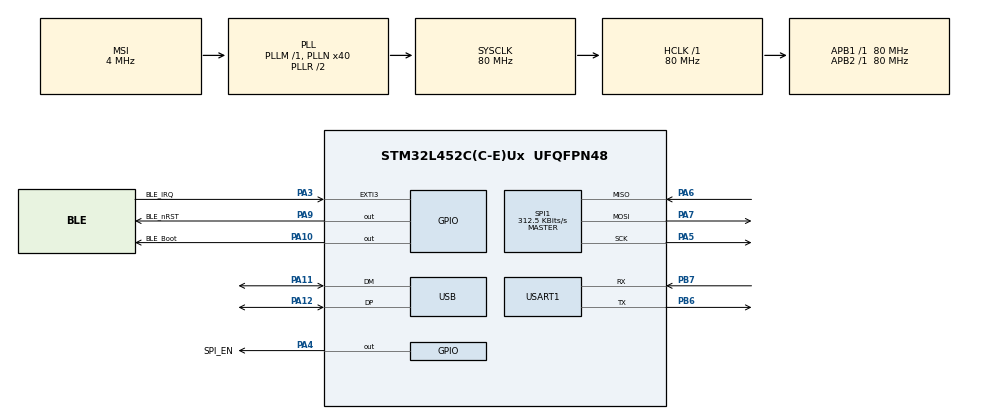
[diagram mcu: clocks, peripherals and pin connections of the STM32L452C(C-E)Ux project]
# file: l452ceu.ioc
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ARM.CMSIS.5.6.0.CMSISJjCORE=true
ARM.CMSIS.5.6.0.DeviceJjStartup=COoStartup
Dma.Request0=SPI1_TX
Dma.Request1=SPI1_RX
Dma.SPI1_RX.1.Direction=DMA_PERIPH_TO_MEMORY
Dma.SPI1_RX.1.Instance=DMA1_Channel2
Dma.SPI1_RX.1.MemDataAlignment=DMA_MDATAALIGN_BYTE
Dma.SPI1_RX.1.MemInc=DMA_MINC_ENABLE
Dma.SPI1_RX.1.Mode=DMA_NORMAL
Dma.SPI1_RX.1.PeriphDataAlignment=DMA_PDATAALIGN_BYTE
Dma.SPI1_RX.1.PeriphInc=DMA_PINC_DISABLE
Dma.SPI1_RX.1.Priority=DMA_PRIORITY_LOW
Dma.SPI1_TX.0.Direction=DMA_MEMORY_TO_PERIPH
Dma.SPI1_TX.0.Instance=DMA1_Channel3
Dma.SPI1_TX.0.MemDataAlignment=DMA_MDATAALIGN_BYTE
Dma.SPI1_TX.0.MemInc=DMA_MINC_ENABLE
Dma.SPI1_TX.0.Mode=DMA_NORMAL
Dma.SPI1_TX.0.PeriphDataAlignment=DMA_PDATAALIGN_BYTE
Dma.SPI1_TX.0.PeriphInc=DMA_PINC_DISABLE
Dma.SPI1_TX.0.Priority=DMA_PRIORITY_LOW
Mcu.Family=STM32L4
Mcu.Name=STM32L452C(C-E)Ux
Mcu.Package=UFQFPN48
NVIC.DMA1_Channel2_IRQn=true\:2\:0\:true\:false\:true\:false\:true
NVIC.DMA1_Channel3_IRQn=true\:2\:0\:true\:false\:true\:false\:true
NVIC.EXTI3_IRQn=true\:1\:0\:true\:false\:true\:true\:true
NVIC.PriorityGroup=NVIC_PRIORITYGROUP_4
NVIC.SPI1_IRQn=true\:0\:0\:false\:false\:true\:true\:true
NVIC.TIM6_DAC_IRQn=true\:0\:0\:true\:false\:true\:true\:true
NVIC.USART1_IRQn=true\:0\:0\:false\:false\:true\:true\:true
NVIC.USB_IRQn=true\:0\:0\:false\:false\:true\:false\:true
PA10.GPIO_Label=BLE_Boot
PA10.GPIO_ModeDefaultOutputPP=GPIO_MODE_OUTPUT_PP
PA10.GPIO_PuPd=GPIO_NOPULL
PA10.GPIO_Speed=GPIO_SPEED_FREQ_LOW
PA10.PinState=GPIO_PIN_RESET
PA10.Signal=GPIO_Output
PA11.Mode=Device
PA11.Signal=USB_DM
PA12.Mode=Device
PA12.Signal=USB_DP
PA13\ (JTMS/SWDIO).Mode=Serial_Wire
PA13\ (JTMS/SWDIO).Signal=SYS_JTMS-SWDIO
PA14\ (JTCK/SWCLK).Mode=Serial_Wire
PA14\ (JTCK/SWCLK).Signal=SYS_JTCK-SWCLK
PA3.GPIO_Label=BLE_IRQ
PA3.GPIO_ModeDefaultEXTI=GPIO_MODE_IT_RISING_FALLING
PA3.Signal=GPXTI3
PA4.GPIO_Label=SPI_EN
PA4.GPIO_ModeDefaultOutputPP=GPIO_MODE_OUTPUT_PP
PA4.GPIO_PuPd=GPIO_NOPULL
PA4.GPIO_Speed=GPIO_SPEED_FREQ_LOW
PA4.PinState=GPIO_PIN_RESET
PA4.Signal=GPIO_Output
PA5.Mode=Full_Duplex_Master
PA5.Signal=SPI1_SCK
PA6.Mode=Full_Duplex_Master
PA6.Signal=SPI1_MISO
PA7.Mode=Full_Duplex_Master
PA7.Signal=SPI1_MOSI
PA9.GPIO_Label=BLE_nRST
PA9.GPIO_ModeDefaultOutputPP=GPIO_MODE_OUTPUT_PP
PA9.GPIO_PuPd=GPIO_NOPULL
PA9.GPIO_Speed=GPIO_SPEED_FREQ_LOW
PA9.PinState=GPIO_PIN_RESET
PA9.Signal=GPIO_Output
PB6.Mode=Asynchronous
PB6.Signal=USART1_TX
PB7.Mode=Asynchronous
PB7.Signal=USART1_RX
ProjectManager.HeapSize=0x200
ProjectManager.StackSize=0x400
ProjectManager.TargetToolchain=MDK-ARM V5.27
RCC.ADCFreq_Value=48000000
RCC.AHBFreq_Value=80000000
RCC.APB1Freq_Value=80000000
RCC.APB1TimFreq_Value=80000000
RCC.APB2Freq_Value=80000000
RCC.APB2TimFreq_Value=80000000
RCC.CortexFreq_Value=80000000
RCC.HCLKFreq_Value=80000000
RCC.HSE_VALUE=48000000
RCC.HSI48_VALUE=48000000
RCC.HSI_VALUE=16000000
RCC.LSE_VALUE=32768
RCC.MSI_VALUE=4000000
RCC.PLLN=40
RCC.PLLSAI1N=24
RCC.SYSCLKFreq_VALUE=80000000
RCC.SYSCLKSource=RCC_SYSCLKSOURCE_PLLCLK
RCC.USBFreq_Value=48000000
RCC.VCOOutputFreq_Value=160000000
SPI1.BaudRatePrescaler=SPI_BAUDRATEPRESCALER_256
SPI1.CLKPhase=SPI_PHASE_2EDGE
SPI1.CLKPolarity=SPI_POLARITY_HIGH
SPI1.CalculateBaudRate=312.5 KBits/s
SPI1.DataSize=SPI_DATASIZE_8BIT
SPI1.Direction=SPI_DIRECTION_2LINES
SPI1.Mode=SPI_MODE_MASTER
SPI1.VirtualType=VM_MASTER
TIM6.Period=100
TIM6.Prescaler=80
USART1.VirtualMode-Asynchronous=VM_ASYNC
USB_DEVICE.CLASS_NAME_FS=CDC
USB_DEVICE.USBD_MAX_STR_DESC_SIZ=1024
USB_DEVICE.VirtualMode=Cdc
USB_DEVICE.VirtualModeFS=Cdc_FS
VP_ARM.CMSIS_VS_CMSISJjCORE_5.3.0.Mode=CMSISJjCORE
VP_TIM6_VS_ClockSourceINT.Mode=Enable_Timer
VP_USB_DEVICE_VS_USB_DEVICE_CDC_FS.Mode=CDC_FS
board=custom

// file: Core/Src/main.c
/* USER CODE BEGIN Header */
/**
  ******************************************************************************
  * @file           : main.c
  * @brief          : Main program body
  ******************************************************************************
  * @attention
  *
  * <h2><center>&copy; Copyright (c) 2020 STMicroelectronics.
  * All rights reserved.</center></h2>
  *
  * This software component is licensed by ST under Ultimate Liberty license
  * SLA0044, the "License"; You may not use this file except in compliance with
  * the License. You may obtain a copy of the License at:
  *                             www.st.com/SLA0044
  *
  ******************************************************************************
  */
/* USER CODE END Header */

#include "main.h"
#include "dma.h"
#include "spi.h"
#include "tim.h"
#include "usart.h"
#include "usb_device.h"
#include "gpio.h"

/* USER CODE BEGIN Includes */
#include "queue.h"
#include "usbd_cdc_if.h"
#include "sw_timers.h"
/* USER CODE END Includes */

/* USER CODE BEGIN PV */
Queue q_from_spirx;
Queue q_from_usbrx;

uint8_t test_buf[MAX_STRING_LENGTH] = {0};

volatile bool exchanged = true;
volatile bool usb_transmit = true;
volatile bool while_lock = false;

uint8_t spi_transmit_buff[MAX_STRING_LENGTH];
uint8_t spi_receive_buff[MAX_STRING_LENGTH];

uint8_t usb_transmit_buff[MAX_STRING_LENGTH];
uint8_t usb_receive_buff[MAX_STRING_LENGTH];

struct timer t_resolver;
/* USER CODE END PV */

void SystemClock_Config(void);

/* USER CODE BEGIN 0 */

void HAL_SPI_TxRxCpltCallback(SPI_HandleTypeDef *hspi)
{
	if(hspi->Instance == hspi1.Instance)
	{
		exchanged = true;
		queue_push(&q_from_spirx, spi_receive_buff, MAX_STRING_LENGTH);
		HAL_GPIO_WritePin(SPI_EN_GPIO_Port, SPI_EN_Pin, GPIO_PIN_SET);
	}
}
//

void HAL_TIM_PeriodElapsedCallback(TIM_HandleTypeDef *htim)
{
	if(htim->Instance == TIM6)
	{
		t_OnDigitCompleteInterrupt();
	}
}
//

void HAL_GPIO_EXTI_Callback(uint16_t GPIO_Pin)
{
	if(GPIO_Pin == BLE_IRQ_Pin)
	{
		if(HAL_GPIO_ReadPin(BLE_IRQ_GPIO_Port, BLE_IRQ_Pin) == GPIO_PIN_SET && exchanged && !while_lock)
		{
			memset(spi_transmit_buff, 0, sizeof(spi_transmit_buff[0])*MAX_STRING_LENGTH);
			memset(spi_receive_buff, 0, sizeof(spi_receive_buff[0])*MAX_STRING_LENGTH);
			queue_get_front(&q_from_usbrx, spi_transmit_buff, 0,  queue_get_frontl(&q_from_usbrx));
			queue_pop(&q_from_usbrx);
			HAL_GPIO_WritePin(SPI_EN_GPIO_Port, SPI_EN_Pin, GPIO_PIN_RESET);
			exchanged = false;
			if(HAL_SPI_TransmitReceive_DMA(&hspi1, spi_transmit_buff, spi_receive_buff, MAX_STRING_LENGTH) != HAL_OK)
				{
					Error_Handler();
				}
		}
	}
}
//

/**
	*	@brief	Функция приема сообщения с CDC
	*	@note		см. функцию @ref CDC_Receive_FS
	*	@param
	*	@retval
**/
//
void Connection_RecieveCallback(uint8_t* buffer, uint32_t Len)
{
	if(Len > 0)
		queue_push(&q_from_usbrx, buffer, Len);
}
//

/**
	*	@brief	Функция приема сообщения с CDC
	*	@note		см. функцию @ref CDC_Transmit_FS
	*	@param
	*	@retval
**/
//
void Connection_TransmitCallback(void)
{
	//usb_transmit = true;
}

/* USER CODE END 0 */

int main(void)
{

  /* MCU Configuration--------------------------------------------------------*/

  /* Reset of all peripherals, Initializes the Flash interface and the Systick. */
  HAL_Init();

  /* Configure the system clock */
  SystemClock_Config();

  /* Initialize all configured peripherals */
  MX_GPIO_Init();
  MX_DMA_Init();
  MX_SPI1_Init();
  MX_USART1_UART_Init();
  MX_USB_DEVICE_Init();
  MX_TIM6_Init();
  /* USER CODE BEGIN 2 */
	HAL_TIM_Base_Start_IT(&htim6);
	queue_init(&q_from_spirx);
	queue_init(&q_from_usbrx);
  HAL_GPIO_WritePin(BLE_Boot_GPIO_Port, BLE_Boot_Pin, GPIO_PIN_RESET);
	HAL_GPIO_WritePin(BLE_nRST_GPIO_Port, BLE_nRST_Pin, GPIO_PIN_SET);
	HAL_Delay(1000);
	HAL_GPIO_WritePin(BLE_nRST_GPIO_Port, BLE_nRST_Pin, GPIO_PIN_RESET);
	HAL_Delay(500);
	HAL_GPIO_WritePin(BLE_nRST_GPIO_Port, BLE_nRST_Pin, GPIO_PIN_SET);
  /* USER CODE END 2 */

  /* Infinite loop */
  /* USER CODE BEGIN WHILE */

	//заполнение тестового массива данных
	for(int i = 0; i < MAX_STRING_LENGTH; i++)
	{
		test_buf[i] = i;
	}

	Timer_set(&t_resolver, 500, NULL, true, false, true);

  while (1)
  {
		t_OnDigitCompleteContinuous();

		if(exchanged == true)
			{
				while_lock = true;
				if(!queue_isempty(&q_from_usbrx))
					{
						memset(spi_transmit_buff, 0, sizeof(spi_transmit_buff[0])*MAX_STRING_LENGTH);
						queue_get_front(&q_from_usbrx, spi_transmit_buff, 0,  MAX_STRING_LENGTH);
						queue_pop(&q_from_usbrx);
						HAL_GPIO_WritePin(SPI_EN_GPIO_Port, SPI_EN_Pin, GPIO_PIN_RESET);
						exchanged = false;
						if(HAL_SPI_TransmitReceive_DMA(&hspi1, spi_transmit_buff, spi_receive_buff, MAX_STRING_LENGTH) != HAL_OK)
							{
								Error_Handler();
							}
					}
				while_lock = false;
			}
		if(!queue_isempty(&q_from_spirx) /*&& usb_transmit == true*/)
			{
				memset(usb_transmit_buff, 0, MAX_STRING_LENGTH);
				queue_get_front(&q_from_spirx, usb_transmit_buff, 0,  MAX_STRING_LENGTH);
				queue_pop(&q_from_spirx);
				usb_transmit = false;
				usb_transmit_buff[MAX_STRING_LENGTH-1] = '\n';
				usb_transmit_buff[MAX_STRING_LENGTH-2] = '\r';
				usb_transmit_buff[MAX_STRING_LENGTH-3] = '#';
				CDC_Transmit_FS(usb_transmit_buff, MAX_STRING_LENGTH);
			}
    /* USER CODE END WHILE */

  }
}

void SystemClock_Config(void)
{
  RCC_OscInitTypeDef RCC_OscInitStruct = {0};
  RCC_ClkInitTypeDef RCC_ClkInitStruct = {0};
  RCC_PeriphCLKInitTypeDef PeriphClkInit = {0};

  /** Initializes the CPU, AHB and APB busses clocks
  */
  RCC_OscInitStruct.OscillatorType = RCC_OSCILLATORTYPE_MSI;
  RCC_OscInitStruct.MSIState = RCC_MSI_ON;
  RCC_OscInitStruct.MSICalibrationValue = 0;
  RCC_OscInitStruct.MSIClockRange = RCC_MSIRANGE_6;
  RCC_OscInitStruct.PLL.PLLState = RCC_PLL_ON;
  RCC_OscInitStruct.PLL.PLLSource = RCC_PLLSOURCE_MSI;
  RCC_OscInitStruct.PLL.PLLM = 1;
  RCC_OscInitStruct.PLL.PLLN = 40;
  RCC_OscInitStruct.PLL.PLLP = RCC_PLLP_DIV7;
  RCC_OscInitStruct.PLL.PLLQ = RCC_PLLQ_DIV2;
  RCC_OscInitStruct.PLL.PLLR = RCC_PLLR_DIV2;
  if (HAL_RCC_OscConfig(&RCC_OscInitStruct) != HAL_OK)
  {
    Error_Handler();
  }
  /** Initializes the CPU, AHB and APB busses clocks
  */
  RCC_ClkInitStruct.ClockType = RCC_CLOCKTYPE_HCLK|RCC_CLOCKTYPE_SYSCLK
                              |RCC_CLOCKTYPE_PCLK1|RCC_CLOCKTYPE_PCLK2;
  RCC_ClkInitStruct.SYSCLKSource = RCC_SYSCLKSOURCE_PLLCLK;
  RCC_ClkInitStruct.AHBCLKDivider = RCC_SYSCLK_DIV1;
  RCC_ClkInitStruct.APB1CLKDivider = RCC_HCLK_DIV1;
  RCC_ClkInitStruct.APB2CLKDivider = RCC_HCLK_DIV1;

  if (HAL_RCC_ClockConfig(&RCC_ClkInitStruct, FLASH_LATENCY_4) != HAL_OK)
  {
    Error_Handler();
  }
  PeriphClkInit.PeriphClockSelection = RCC_PERIPHCLK_USART1|RCC_PERIPHCLK_USB;
  PeriphClkInit.Usart1ClockSelection = RCC_USART1CLKSOURCE_PCLK2;
  PeriphClkInit.UsbClockSelection = RCC_USBCLKSOURCE_PLLSAI1;
  PeriphClkInit.PLLSAI1.PLLSAI1Source = RCC_PLLSOURCE_MSI;
  PeriphClkInit.PLLSAI1.PLLSAI1M = 1;
  PeriphClkInit.PLLSAI1.PLLSAI1N = 24;
  PeriphClkInit.PLLSAI1.PLLSAI1P = RCC_PLLP_DIV7;
  PeriphClkInit.PLLSAI1.PLLSAI1Q = RCC_PLLQ_DIV2;
  PeriphClkInit.PLLSAI1.PLLSAI1R = RCC_PLLR_DIV2;
  PeriphClkInit.PLLSAI1.PLLSAI1ClockOut = RCC_PLLSAI1_48M2CLK;
  if (HAL_RCCEx_PeriphCLKConfig(&PeriphClkInit) != HAL_OK)
  {
    Error_Handler();
  }
  /** Configure the main internal regulator output voltage
  */
  if (HAL_PWREx_ControlVoltageScaling(PWR_REGULATOR_VOLTAGE_SCALE1) != HAL_OK)
  {
    Error_Handler();
  }
}

void Error_Handler(void)
{
}

/************************ (C) COPYRIGHT STMicroelectronics *****END OF FILE****/
